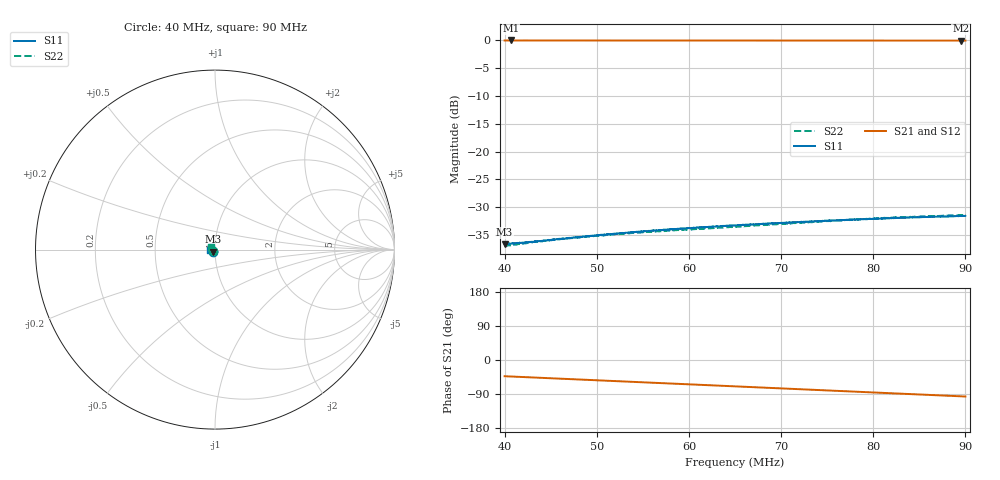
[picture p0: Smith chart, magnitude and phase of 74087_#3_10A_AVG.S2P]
!Agilent Technologies,E5061B,MY49102235,A.02.00
!Date: Mon Jul 03 11:19:26 2023
!Data & Calibration Information:
!Freq	S11:SOLT2(ON)	S21:SOLT2(ON)	S12:SOLT2(ON)	S22:SOLT2(ON)
# Hz S RI R 50
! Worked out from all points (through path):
!   1600 points, 40 MHz to 90 MHz, reference 50 ohm
!   highest |S21| = 0.00 dB at 40.69 MHz (marker M1); lowest = 0.0 dB at 89.5 MHz (marker M2)
!   group delay of S21, straight-line fit = 2.98 ns
!   lowest |S11| = -36.7 dB at 40 MHz (marker M3), VSWR 1.03, Z = 49.1 - j1.1 ohm
!   |S11| at or under -10 dB: start of sweep to end of sweep
!   |S22| runs from -37.0 to -31.4 dB; largest |S21 - S12| = 0.0011
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4e7  -0.00941 -0.0112  0.7334 -0.6793  0.7335 -0.6785  -0.0118 -0.00781
4.068793e7  -0.00964 -0.0113  0.7249 -0.6887  0.7249 -0.6878  -0.0121 -0.0078
4.196998e7  -0.0101 -0.0113  0.7079 -0.7056  0.708 -0.7052  -0.0127 -0.00762
4.312695e7  -0.0104 -0.0112  0.6925 -0.7207  0.6926 -0.7202  -0.0134 -0.00743
4.444028e7  -0.011 -0.0115  0.6744 -0.7374  0.6748 -0.737  -0.014 -0.00718
4.578487e7  -0.0115 -0.0115  0.6558 -0.7542  0.656 -0.7537  -0.0147 -0.00687
4.834897e7  -0.0124 -0.0117  0.6189 -0.7844  0.6189 -0.7841  -0.0158 -0.00611
5.000625e7  -0.0131 -0.0118  0.5942 -0.8032  0.5942 -0.8028  -0.0166 -0.00554
5.285178e7  -0.0141 -0.0119  0.5506 -0.8336  0.5507 -0.833  -0.0176 -0.00453
5.666667e7  -0.0155 -0.012  0.4897 -0.8703  0.4898 -0.8699  -0.019 -0.00278
6.082552e7  -0.0171 -0.0116  0.4208 -0.9055  0.4208 -0.905  -0.02 -0.00111
6.42339e7  -0.0185 -0.0109  0.3625 -0.9304  0.3625 -0.9299  -0.0209 0.00035
6.501563e7  -0.0189 -0.0107  0.3485 -0.9357  0.3489 -0.935  -0.021 0.000603
6.901814e7  -0.0206 -0.00938  0.2776 -0.9591  0.2781 -0.9585  -0.0219 0.00227
7.33646e7  -0.0222 -0.00791  0.1985 -0.9784  0.1991 -0.9778  -0.0229 0.00435
7.746091e7  -0.0234 -0.00624  0.1231 -0.9902  0.1233 -0.9899  -0.0235 0.00643
8.115072e7  -0.0245 -0.00512  0.0542 -0.9959  0.0546 -0.9957  -0.0236 0.00868
8.16823e7  -0.0247 -0.00484  0.0444 -0.9964  0.0449 -0.9962  -0.0237 0.00897
8.34334e7  -0.025 -0.00421  0.0117 -0.9971  0.0121 -0.9969  -0.0236 0.00998
8.596623e7  -0.0255 -0.00334  -0.0354 -0.9964  -0.0351 -0.9961  -0.0233 0.0116
8.949969e7  -0.0262 -0.00185  -0.1009 -0.9914  -0.1006 -0.9911  -0.023 0.0137
9e7  -0.0263 -0.00169  -0.1099 -0.9904  -0.1098 -0.9902  -0.0229 0.0141
